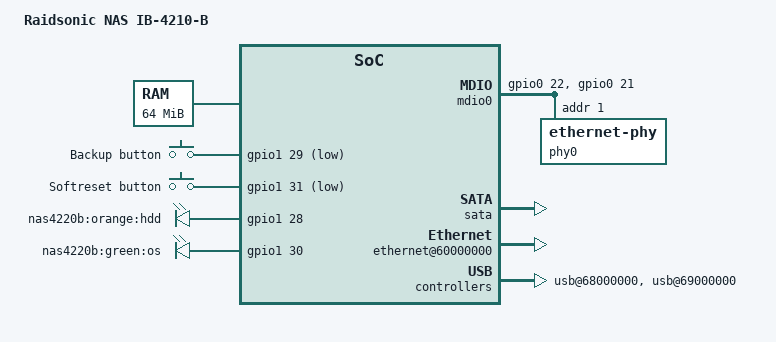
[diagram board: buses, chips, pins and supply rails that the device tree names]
// SPDX-License-Identifier: GPL-2.0
/*
 * Device Tree file for the Gemini-based Raidsonic NAS IB-4210-B
 * Based on the NAS Forum experiments by user "CptSpock".
 */

/dts-v1/;

#include "gemini.dtsi"
#include <dt-bindings/input/input.h>

/ {
	model = "Raidsonic NAS IB-4210-B";
	compatible = "raidsonic,ib-4210-b", "cortina,gemini";
	#address-cells = <1>;
	#size-cells = <1>;

	memory@0 { /* 64 MB */
		device_type = "memory";
		reg = <0x00000000 0x4000000>;
	};

	chosen {
		bootargs = "console=ttyS0,19200n8 root=/dev/sda1 rw rootwait";
		stdout-path = &uart0;
	};

	gpio_keys {
		compatible = "gpio-keys";

		button-setup {
			debounce-interval = <100>;
			wakeup-source;
			linux,code = <KEY_SETUP>;
			label = "Backup button";
			/* Conflict with TVC */
			gpios = <&gpio1 29 GPIO_ACTIVE_LOW>;
		};
		button-restart {
			debounce-interval = <100>;
			wakeup-source;
			linux,code = <KEY_RESTART>;
			label = "Softreset button";
			/* Conflict with TVC */
			gpios = <&gpio1 31 GPIO_ACTIVE_LOW>;
		};
	};

	leds {
		compatible = "gpio-leds";
		led-orange-hdd {
			label = "nas4220b:orange:hdd";
			/* Conflict with TVC */
			gpios = <&gpio1 28 GPIO_ACTIVE_HIGH>;
			default-state = "on";
			linux,default-trigger = "disk-activity";
		};
		led-green-os {
			label = "nas4220b:green:os";
			/* Conflict with TVC */
			gpios = <&gpio1 30 GPIO_ACTIVE_HIGH>;
			default-state = "on";
			linux,default-trigger = "heartbeat";
		};
	};

	mdio0: mdio {
		compatible = "virtual,mdio-gpio";
		gpios = <&gpio0 22 GPIO_ACTIVE_HIGH>, /* MDC */
			<&gpio0 21 GPIO_ACTIVE_HIGH>; /* MDIO */
		#address-cells = <1>;
		#size-cells = <0>;

		/* Realtek RTL8211B */
		phy0: ethernet-phy@1 {
			reg = <1>;
			device_type = "ethernet-phy";
		};
	};

	soc {
		flash@30000000 {
			status = "okay";
			/* 16MB of flash */
			reg = <0x30000000 0x01000000>;

			partitions {
				compatible = "redboot-fis";
				/* Eraseblock at 0xfe0000 */
				fis-index-block = <0x7f>;
			};
		};

		syscon: syscon@40000000 {
			pinctrl {
				gpio0_default_pins: pinctrl-gpio0 {
					mux {
						function = "gpio0";
						groups =
						"gpio0egrp",
						/* Used by MDIO */
						"gpio0igrp";
					};
				};
				gpio1_default_pins: pinctrl-gpio1 {
					mux {
						function = "gpio1";
						/* Lines 28-31 used by LEDs and buttons */
						groups = "gpio1dgrp";
					};
				};
				pinctrl-gmii {
					mux {
						function = "gmii";
						groups = "gmii_gmac0_grp";
					};
					conf0 {
						pins = "R8 GMAC0 RXDV", "U11 GMAC1 RXDV";
						skew-delay = <0>;
					};
					conf1 {
						pins = "T8 GMAC0 RXC";
						skew-delay = <10>;
					};
					conf2 {
						pins = "T11 GMAC1 RXC";
						skew-delay = <15>;
					};
					conf3 {
						pins = "P8 GMAC0 TXEN", "V11 GMAC1 TXEN";
						skew-delay = <7>;
					};
					conf4 {
						pins = "V7 GMAC0 TXC", "P10 GMAC1 TXC";
						skew-delay = <10>;
					};
					conf5 {
						/* The data lines all have default skew */
						pins = "U8 GMAC0 RXD0", "V8 GMAC0 RXD1",
						       "P9 GMAC0 RXD2", "R9 GMAC0 RXD3",
						       "R11 GMAC1 RXD0", "P11 GMAC1 RXD1",
						       "V12 GMAC1 RXD2", "U12 GMAC1 RXD3",
						       "R10 GMAC1 TXD0", "T10 GMAC1 TXD1",
						       "U10 GMAC1 TXD2", "V10 GMAC1 TXD3";
						skew-delay = <7>;
					};
					conf6 {
						pins = "U7 GMAC0 TXD0", "T7 GMAC0 TXD1",
						       "R7 GMAC0 TXD2", "P7 GMAC0 TXD3";
						skew-delay = <5>;
					};
					/* Set up drive strength on GMAC0 to 16 mA */
					conf7 {
						groups = "gmii_gmac0_grp";
						drive-strength = <16>;
					};
				};
			};
		};

		sata: sata@46000000 {
			cortina,gemini-ata-muxmode = <0>;
			cortina,gemini-enable-sata-bridge;
			status = "okay";
		};

		gpio0: gpio@4d000000 {
			pinctrl-names = "default";
			pinctrl-0 = <&gpio0_default_pins>;
		};

		gpio1: gpio@4e000000 {
			pinctrl-names = "default";
			pinctrl-0 = <&gpio1_default_pins>;
		};

		ethernet@60000000 {
			status = "okay";

			ethernet-port@0 {
				phy-mode = "rgmii";
				phy-handle = <&phy0>;
			};
			ethernet-port@1 {
				/* Not used in this platform */
			};
		};

		ide@63000000 {
			status = "okay";
		};

		ide@63400000 {
			status = "okay";
		};

		usb@68000000 {
			status = "okay";
		};

		usb@69000000 {
			status = "okay";
		};
	};
};
